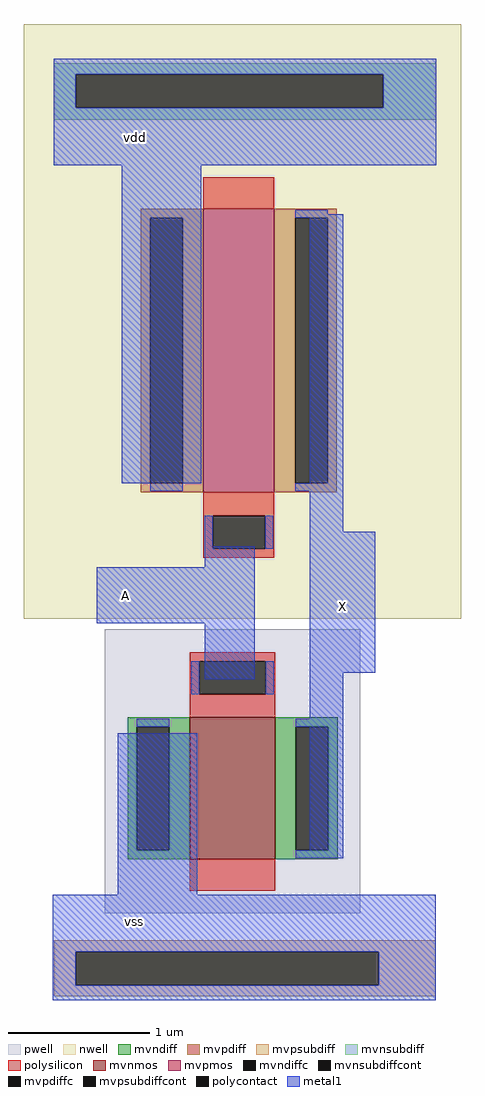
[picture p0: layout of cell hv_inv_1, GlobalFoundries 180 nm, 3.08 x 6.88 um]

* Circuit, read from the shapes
.subckt hv_inv_1 vdd A X vss
XM1 X A vss vss nfet_06v0 w=1u l=0.6u
XM2 X A vdd vdd pfet_06v0 w=2u l=0.5u
.ends

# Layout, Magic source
magic
tech gf180mcuD
magscale 1 10
<< nwell >>
rect 575 -620 1191 218
<< mvpsubdiff >>
rect 618 -1089 1155 -1073
rect 618 -1136 648 -1089
rect 1075 -1136 1155 -1089
rect 618 -1152 1155 -1136
<< mvnsubdiff >>
rect 617 147 1156 163
rect 617 100 648 147
rect 1081 100 1156 147
rect 617 83 1156 100
<< mvpsubdiffcont >>
rect 648 -1136 1075 -1089
<< mvnsubdiffcont >>
rect 648 100 1081 147
<< metal1 >>
rect 617 147 1156 169
rect 617 100 648 147
rect 1081 100 1156 147
rect 617 19 1156 100
rect 713 -429 825 19
rect 978 -497 1025 -50
rect 830 -547 900 -518
rect 678 -626 900 -547
rect 830 -705 900 -626
rect 978 -696 1070 -497
rect 707 -1009 819 -781
rect 978 -957 1025 -696
rect 616 -1089 1155 -1009
rect 616 -1136 648 -1089
rect 1075 -1136 1155 -1089
rect 616 -1157 1155 -1136
use nfet_05v0_XXEKSY  nfet_05v0_XXEKSY_0 paramcells
transform 1 0 869 0 1 -835
box -180 -200 180 200
use pfet_05v0_MGHZK5  pfet_05v0_MGHZK5_0 paramcells
transform 1 0 878 0 1 -266
box -224 -354 224 354
<< labels >>
flabel metal1 617 19 848 98 0 FreeSans 738 0 0 0 vdd
port 0 nsew
flabel metal1 616 -1083 846 -1009 0 FreeSans 738 0 0 0 vss
port 3 nsew
flabel metal1 978 -645 1070 -560 0 FreeSans 738 0 0 0 X
port 2 nsew
flabel metal1 678 -626 759 -547 0 FreeSans 738 0 0 0 A
port 1 nsew
<< end >>

# cell nfet_05v0_XXEKSY: kit device nfet_05v0, w 1.0 l 0.6 m 1 nf 1 diffcov 100 polycov 100 guard 0 glc 0 grc 0 gtc 0 gbc 0 tbcov 100 rlcov 100 topc 1 botc 0 poverlap 0 doverlap 0 lmin 0.6 wmin 0.3 class mosfet full_metal 0 viasrc 0 viadrn 0 viagate 0 viagb 0 viagr 0 viagl 0 viagt 0 doports 1 compatible {nfet_03v3 nfet_05v0 nfet_06v0 nfet_06v0_nvt}

# cell pfet_05v0_MGHZK5: kit device pfet_05v0, w 2.0 l 0.5 m 1 nf 1 diffcov 100 polycov 100 guard 0 glc 0 grc 0 gtc 0 gbc 0 tbcov 100 rlcov 100 topc 0 botc 1 poverlap 0 doverlap 0 lmin 0.5 wmin 0.3 class mosfet full_metal 0 viasrc 0 viadrn 0 viagate 0 viagb 0 viagr 0 viagl 0 viagt 0 doports 1 compatible {pfet_03v3 pfet_05v0 pfet_06v0}
